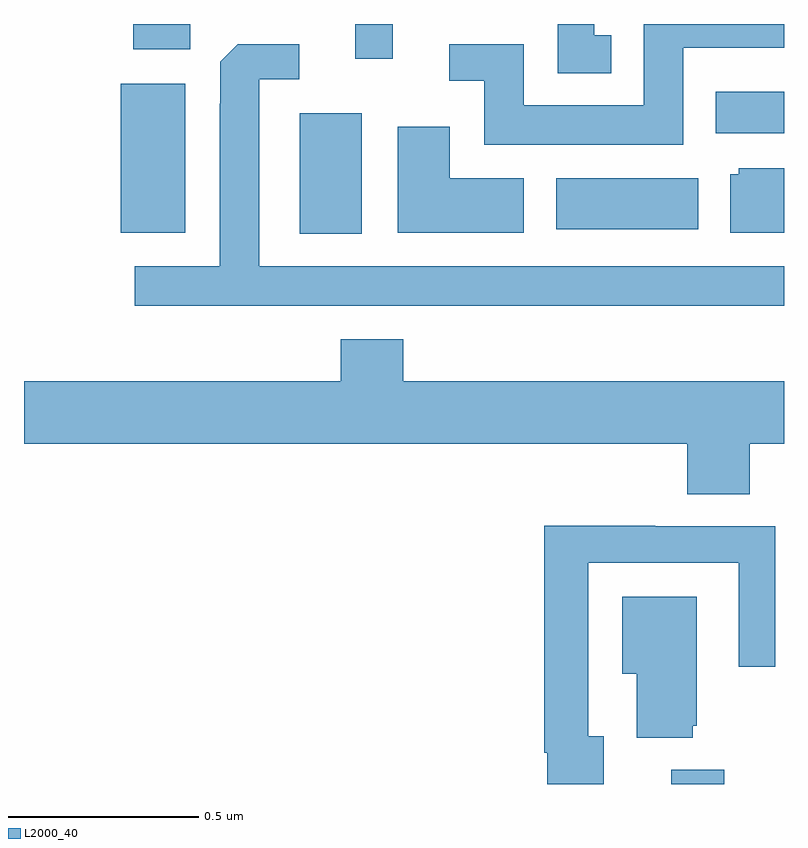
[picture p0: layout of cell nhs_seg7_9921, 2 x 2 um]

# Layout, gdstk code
import gdstk
lib = gdstk.Library(unit=1e-6, precision=1e-09)
def R(c, l, rs):  # rectangles x0, y0, x1, y1
    for r in rs: c.add(gdstk.rectangle(r[:2], r[2:], *l))
def P(c, l, *ps):  # polygons
    for p in ps: c.add(gdstk.Polygon(p, *l))
L2000_40 = (2000, 40)

nhs_seg7_9921 = lib.new_cell('nhs_seg7_9921')
R(nhs_seg7_9921, L2000_40, [(244.703,1053,244.843,1053.037), (243.725,1054.448,243.889,1054.765), (243.254,1054.451,243.424,1054.843), (244.4,1054.46,244.774,1054.594), (244.82,1054.712,245,1054.822), (243.872,1054.908,243.97,1055), (243.287,1054.934,243.438,1055)])
P(nhs_seg7_9921, L2000_40, [(244.546,1054.971),(244.5,1054.971),(244.5,1055),(244.404,1055),(244.404,1054.871),(244.546,1054.871)],
  [(244.735,1054.937),(245,1054.937),(245,1055),(244.631,1055),(244.631,1054.786),(244.315,1054.786),(244.315,1054.947),(244.119,1054.947),(244.119,1054.851),(244.211,1054.851),(244.211,1054.682),(244.735,1054.682)],
  [(245,1054.363),(243.619,1054.363),(243.619,1054.854),(243.724,1054.854),(243.724,1054.947),(243.562,1054.947),(243.516,1054.901),(243.516,1054.79),(243.515,1054.79),(243.515,1054.363),(243.291,1054.363),(243.291,1054.259),(245,1054.259)],
  [(244.315,1054.594),(244.12,1054.594),(244.12,1054.729),(243.983,1054.729),(243.983,1054.451),(244.315,1054.451)],
  [(245,1054.621),(244.881,1054.621),(244.881,1054.605),(244.859,1054.605),(244.859,1054.451),(245,1054.451)],
  [(244.91,1053.896),(245,1053.896),(245,1054.06),(243.998,1054.06),(243.998,1054.171),(243.833,1054.171),(243.833,1054.06),(243,1054.06),(243,1053.896),(244.745,1053.896),(244.745,1053.763),(244.91,1053.763)],
  [(244.525,1053.126),(244.485,1053.126),(244.485,1053.582),(244.881,1053.582),(244.881,1053.309),(244.977,1053.309),(244.977,1053.678),(244.661,1053.678),(244.661,1053.68),(244.369,1053.68),(244.369,1053.082),(244.377,1053.082),(244.377,1053),(244.525,1053)],
  [(244.76,1053.153),(244.771,1053.153),(244.771,1053.493),(244.574,1053.493),(244.574,1053.29),(244.613,1053.29),(244.613,1053.122),(244.76,1053.122)])

lib.write_gds('nhs_seg7_9921.gds')
